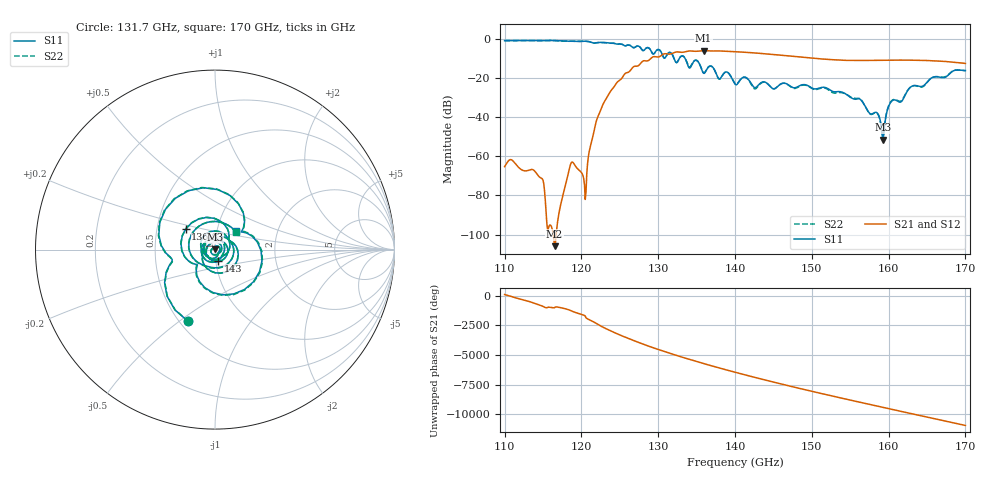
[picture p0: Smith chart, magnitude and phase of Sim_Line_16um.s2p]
! Touchstone file exported from HFSS 2020.2.4
!  File:  D:/Project/Deacon_v3/240214_MPW12_Gap_WG_Tester_D2A/Gap_WG_Tester_D2.aedt
!  Generated:  11:44:09 AM  Mar 20, 2025
!  Design:  Line
!  Project:  Gap_WG_Tester_D2
!  Setup:  Setup1
!  Solution:  Sweep
! Variables:
!  C_G = 16um
!  C_H = 0.5mm
!  Deembedding = 25.4mm
!  E_P = 133um
!  S_H1 = 260um
!  S_H2 = 0.013mm
!  S_H3 = 8um
!  S_X = 30mm
!  S_X0 = 15mm
!  S_Y = 15mm
!  S_Y0 = 7.5mm
!  TL_G = 40um
!  TL_L = 12.1467848662796mm
!  TL_W = 0.24mm
!  TR_L = 706.43026744077um
!  TR_L2 = 226.8691264263um
!  TR_L3 = 373.29154801399um
!  TR_P = 109.62537243288um
!  TR_W = 1597.2041747747um
!  TR_W2 = 282.226541747um
!  V_PBO = 20um
!  V_Pad = 40um
!  V_R = 20um
!  WG_L = 0.8255mm
!  WG_W = 1.651mm
!  th = 5um
!Data is not renormalized
# GHZ S MA
! Terminal data exported
! Port[1] = 1
! Port[2] = 2
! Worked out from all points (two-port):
!   601 points, 110 GHz to 170 GHz, reference per port
!   highest |S21| = -6.15 dB at 135.9 GHz (marker M1); lowest = -106.0 dB at 116.5 GHz (marker M2)
!   |S21| within 3 dB of the highest: 130.2 GHz to 147.8 GHz (17.63 GHz wide, 12.7 % of centre)
!   lowest |S11| = -51.6 dB at 159.3 GHz (marker M3), VSWR 1.01
!   |S11| at or under -10 dB: 132.1 GHz to 132.8 GHz (718 MHz wide, 0.542 % of centre); 133.5 GHz to end of sweep
!   |S22| runs from -51.5 to -0.9 dB; largest |S21 - S12| = 7.8e-14
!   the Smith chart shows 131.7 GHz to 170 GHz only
!   S11 on the Smith chart (normalised r, x): 131.7 GHz: 0.55, -0.54; 136.8 GHz: 0.70, +0.17; 143 GHz: 1.03, -0.13; 170 GHz: 1.23, +0.26
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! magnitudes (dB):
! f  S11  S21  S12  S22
! 110 GHz  -1.0  -65.4  -65.4  -1.0
! 113.7 GHz  -1.0  -66.9  -66.9  -1.0
! 115.5 GHz  -1.1  -94.3  -94.3  -1.0
! 116.5 GHz  -1.0  -106.0  -106.0  -1.0
! 117.6 GHz  -1.2  -79.9  -79.9  -1.3
! 118.8 GHz  -1.3  -63.0  -63.0  -1.4
! 120 GHz  -1.4  -68.3  -68.3  -1.3
! 120.5 GHz  -1.3  -82.1  -82.1  -1.3
! 121.9 GHz  -2.1  -42.7  -42.7  -2.2
! 123.7 GHz  -2.3  -27.4  -27.4  -2.3
! 130 GHz  -5.6  -9.4  -9.4  -5.6
! 131.7 GHz  -7.4  -7.7  -7.7  -7.4
! 135.9 GHz  -17.7  -6.2  -6.2  -17.4
! 136.8 GHz  -14.0  -6.3  -6.3  -14.0
! 140 GHz  -23.2  -6.7  -6.7  -23.0
! 143 GHz  -23.9  -7.4  -7.4  -24.4
! 150 GHz  -25.2  -10.0  -10.0  -25.5
! 156.2 GHz  -30.8  -11.2  -11.2  -30.5
! 159.3 GHz  -51.6  -11.1  -11.1  -51.5
! 160 GHz  -34.6  -11.0  -11.0  -34.3
! 163.1 GHz  -24.2  -11.0  -11.0  -24.2
! 170 GHz  -16.3  -12.7  -12.7  -16.4
